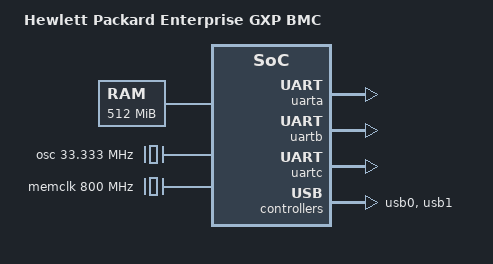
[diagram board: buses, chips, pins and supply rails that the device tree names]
// SPDX-License-Identifier: GPL-2.0
/*
 * Device Tree file for HPE GXP
 */

/dts-v1/;
/ {
	model = "Hewlett Packard Enterprise GXP BMC";
	compatible = "hpe,gxp";
	#address-cells = <1>;
	#size-cells = <1>;

	cpus {
		#address-cells = <1>;
		#size-cells = <0>;

		cpu@0 {
			compatible = "arm,cortex-a9";
			device_type = "cpu";
			reg = <0>;
		};
	};

	gxp-init@cefe0010 {
		compatible = "hpe,gxp-cpu-init";
		reg = <0xcefe0010 0x04>;
	};

	memory@40000000 {
		device_type = "memory";
		reg = <0x40000000 0x20000000>;
	};

	ahb {
		compatible = "simple-bus";
		#address-cells = <1>;
		#size-cells = <1>;
		device_type = "soc";
		ranges;

		vic0: interrupt-controller@ceff0000 {
			compatible = "arm,pl192-vic";
			interrupt-controller;
			reg = <0xceff0000 0x1000>;
			#interrupt-cells = <1>;
		};

		vic1: interrupt-controller@80f00000 {
			compatible = "arm,pl192-vic";
			interrupt-controller;
			reg = <0x80f00000 0x1000>;
			#interrupt-cells = <1>;
		};

		timer0: timer@c0000080 {
			compatible = "hpe,gxp-timer";
			reg = <0xc0000080 0x1>, <0xc0000094 0x01>, <0xc0000088 0x08>;
			interrupts = <0>;
			interrupt-parent = <&vic0>;
			clock-frequency = <400000000>;
		};

		uarta: serial@c00000e0 {
			compatible = "ns16550a";
			reg = <0xc00000e0 0x8>;
			interrupts = <17>;
			interrupt-parent = <&vic0>;
			clock-frequency = <1846153>;
			reg-shift = <0>;
		};

		uartb: serial@c00000e8 {
			compatible = "ns16550a";
			reg = <0xc00000e8 0x8>;
			interrupts = <18>;
			interrupt-parent = <&vic0>;
			clock-frequency = <1846153>;
			reg-shift = <0>;
		};

		uartc: serial@c00000f0 {
			compatible = "ns16550a";
			reg = <0xc00000f0 0x8>;
			interrupts = <19>;
			interrupt-parent = <&vic0>;
			clock-frequency = <1846153>;
			reg-shift = <0>;
		};

		usb0: usb@cefe0000 {
			compatible = "generic-ehci";
			reg = <0xcefe0000 0x100>;
			interrupts = <7>;
			interrupt-parent = <&vic0>;
		};

		usb1: usb@cefe0100 {
			compatible = "generic-ohci";
			reg = <0xcefe0100 0x110>;
			interrupts = <6>;
			interrupt-parent = <&vic0>;
		};

		vrom@58000000 {
			compatible = "mtd-ram";
			bank-width = <4>;
			reg = <0x58000000 0x4000000>;
			#address-cells = <1>;
			#size-cells = <1>;
			partition@0 {
				label = "vrom-prime";
				reg = <0x0 0x2000000>;
			};
			partition@2000000 {
				label = "vrom-second";
				reg = <0x2000000 0x2000000>;
			};
		};

		i2cg: syscon@c00000f8 {
			compatible = "simple-mfd", "syscon";
			reg = <0xc00000f8 0x08>;
		};
	};

	clocks {
		osc: osc {
			compatible = "fixed-clock";
			#clock-cells = <0>;
			clock-output-names = "osc";
			clock-frequency = <33333333>;
		};

		iopclk: iopclk {
			compatible = "fixed-clock";
			#clock-cells = <0>;
			clock-output-names = "iopclk";
			clock-frequency = <400000000>;
		};

		memclk: memclk {
			compatible = "fixed-clock";
			#clock-cells = <0>;
			clock-output-names = "memclk";
			clock-frequency = <800000000>;
		};
	};
};
